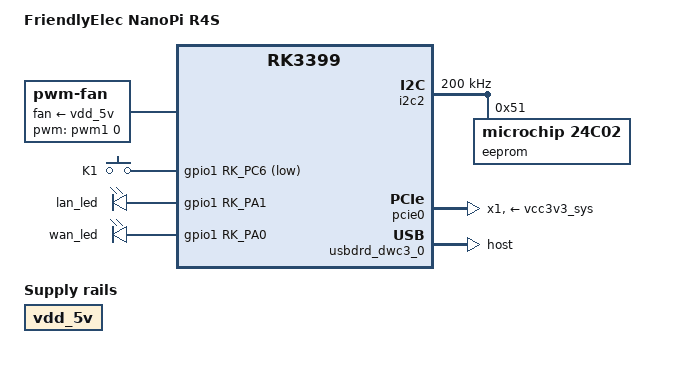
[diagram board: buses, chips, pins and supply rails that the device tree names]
// SPDX-License-Identifier: (GPL-2.0+ OR MIT)
/*
 * FriendlyElec NanoPC-T4 board device tree source
 *
 * Copyright (c) 2020 FriendlyElec Computer Tech. Co., Ltd.
 * (http://www.friendlyarm.com)
 *
 * Copyright (c) 2018 Collabora Ltd.
 *
 * Copyright (c) 2020 Jensen Huang <jensenhuang@friendlyarm.com>
 * Copyright (c) 2020 Marty Jones <mj8263788@gmail.com>
 * Copyright (c) 2021 Tianling Shen <cnsztl@gmail.com>
 */

/dts-v1/;
#include "rk3399-nanopi4.dtsi"

/ {
	model = "FriendlyElec NanoPi R4S";
	compatible = "friendlyelec,nanopi-r4s", "rockchip,rk3399";

	aliases {
		ethernet1 = &r8169;
	};

	vdd_5v: vdd-5v {
		compatible = "regulator-fixed";
		regulator-name = "vdd_5v";
		regulator-always-on;
		regulator-boot-on;
	};

	fan: pwm-fan {
		compatible = "pwm-fan";
		cooling-levels = <0 18 102 170 255>;
		#cooling-cells = <2>;
		fan-supply = <&vdd_5v>;
		pwms = <&pwm1 0 50000 0>;
	};
};

&cpu_thermal {
	trips {
		cpu_warm: cpu_warm {
			temperature = <55000>;
			hysteresis = <2000>;
			type = "active";
		};

		cpu_hot: cpu_hot {
			temperature = <65000>;
			hysteresis = <2000>;
			type = "active";
		};
	};

	cooling-maps {
		map2 {
			trip = <&cpu_warm>;
			cooling-device = <&fan THERMAL_NO_LIMIT 1>;
		};

		map3 {
			trip = <&cpu_hot>;
			cooling-device = <&fan 2 THERMAL_NO_LIMIT>;
		};
	};
};

&emmc_phy {
	status = "disabled";
};

&fusb0 {
	status = "disabled";
};

&i2c2 {
	clock-frequency = <200000>;
	i2c-scl-rising-time-ns = <150>;
	i2c-scl-falling-time-ns = <30>;
	status = "okay";

	eeprom@51 {
		compatible = "microchip,24c02", "atmel,24c02";
		reg = <0x51>;
		#address-cells = <2>;
		#size-cells = <0>;
		pagesize = <16>;
		size = <256>;

		eui_48: eui-48@fa {
			reg = <0xfa 0x06>;
		};
	};
};

&i2c4 {
	status = "disabled";
};

&keys {
	button@1 {
		debounce-interval = <50>;
		gpios = <&gpio1 RK_PC6 GPIO_ACTIVE_LOW>;
		label = "K1";
		linux,code = <BTN_1>;
		wakeup-source;
	};
};

&key_pins {
	rockchip,pins =
		<0 RK_PA5 RK_FUNC_GPIO &pcfg_pull_up>,
		<1 RK_PC6 RK_FUNC_GPIO &pcfg_pull_up>;
};

&leds {
	lan_led: led-2 {
		gpios = <&gpio1 RK_PA1 GPIO_ACTIVE_HIGH>;
		label = "lan_led";
	};

	wan_len: led-3 {
		gpios = <&gpio1 RK_PA0 GPIO_ACTIVE_HIGH>;
		label = "wan_led";
	};
};

&leds_pin {
	rockchip,pins =
		<0 RK_PB5 RK_FUNC_GPIO &pcfg_pull_none>,
		<1 RK_PA0 RK_FUNC_GPIO &pcfg_pull_none>,
		<1 RK_PA1 RK_FUNC_GPIO &pcfg_pull_none>;
};

&mach {
	hwrev = <0x09>;
	model = "NanoPi R4S";
};

&pcie0 {
	ep-gpios = <&gpio2 RK_PB1 GPIO_ACTIVE_HIGH>;
	max-link-speed = <1>;
	num-lanes = <1>;
	vpcie3v3-supply = <&vcc3v3_sys>;

	pcie@0 {
		reg = <0x00000000 0 0 0 0>;
		#address-cells = <3>;
		#size-cells = <2>;

		r8169: pcie@0,0 {
			reg = <0x000000 0 0 0 0>;
			local-mac-address = [ 00 00 00 00 00 00 ];
			realtek,ledsel = <0x870>;
		};
	};
};

&sdhci {
	status = "disabled";
};

&sdio0 {
	status = "disabled";
};

&u2phy0_host {
	phy-supply = <&vdd_5v>;
};

&u2phy1_otg {
	phy-supply = <&vdd_5v>;
};

&uart0 {
	status = "disabled";
};

&usbdrd_dwc3_0 {
	dr_mode = "host";
};

&vcc3v3_sys {
	vin-supply = <&vcc5v0_sys>;
};
